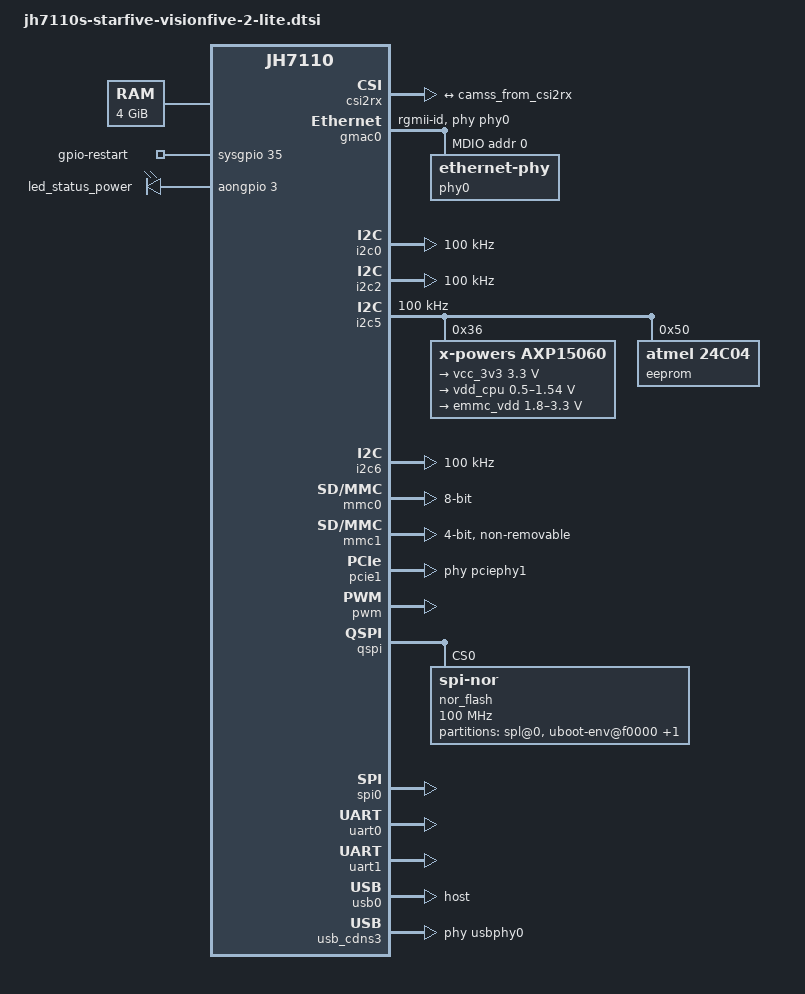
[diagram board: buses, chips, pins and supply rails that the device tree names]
// SPDX-License-Identifier: GPL-2.0 OR MIT
/*
 * Copyright (C) 2025 StarFive Technology Co., Ltd.
 * Copyright (C) 2025 Hal Feng <hal.feng@starfivetech.com>
 */

/dts-v1/;
#include "jh7110.dtsi"
#include "jh7110-pinfunc.h"
#include <dt-bindings/gpio/gpio.h>
#include <dt-bindings/leds/common.h>
#include <dt-bindings/pinctrl/starfive,jh7110-pinctrl.h>

/ {
	aliases {
		ethernet0 = &gmac0;
		i2c0 = &i2c0;
		i2c2 = &i2c2;
		i2c5 = &i2c5;
		i2c6 = &i2c6;
		mmc0 = &mmc0;
		mmc1 = &mmc1;
		serial0 = &uart0;
	};

	chosen {
		stdout-path = "serial0:115200n8";
	};

	memory@40000000 {
		device_type = "memory";
		reg = <0x0 0x40000000 0x1 0x0>;
		bootph-pre-ram;
	};

	gpio-restart {
		compatible = "gpio-restart";
		gpios = <&sysgpio 35 GPIO_ACTIVE_HIGH>;
		priority = <224>;
	};

	leds {
		compatible = "gpio-leds";

		led_status_power: led-0 {
			gpios = <&aongpio 3 GPIO_ACTIVE_HIGH>;
		};
	};
};

&cpu_opp {
	/delete-node/ opp-375000000;
	/delete-node/ opp-500000000;
	/delete-node/ opp-750000000;
	/delete-node/ opp-1500000000;

	opp-312500000 {
		opp-hz = /bits/ 64 <312500000>;
		opp-microvolt = <800000>;
	};
	opp-417000000 {
		opp-hz = /bits/ 64 <417000000>;
		opp-microvolt = <800000>;
	};
	opp-625000000 {
		opp-hz = /bits/ 64 <625000000>;
		opp-microvolt = <800000>;
	};
	opp-1250000000 {
		opp-hz = /bits/ 64 <1250000000>;
		opp-microvolt = <1000000>;
	};
};

&cpus {
	timebase-frequency = <4000000>;
};

&dvp_clk {
	clock-frequency = <74250000>;
};

&gmac0_rgmii_rxin {
	clock-frequency = <125000000>;
};

&gmac0_rmii_refin {
	clock-frequency = <50000000>;
};

&gmac1_rgmii_rxin {
	clock-frequency = <125000000>;
};

&gmac1_rmii_refin {
	clock-frequency = <50000000>;
};

&hdmitx0_pixelclk {
	clock-frequency = <297000000>;
};

&i2srx_bclk_ext {
	clock-frequency = <12288000>;
};

&i2srx_lrck_ext {
	clock-frequency = <192000>;
};

&i2stx_bclk_ext {
	clock-frequency = <12288000>;
};

&i2stx_lrck_ext {
	clock-frequency = <192000>;
};

&mclk_ext {
	clock-frequency = <12288000>;
};

&osc {
	clock-frequency = <24000000>;
};

&rtc_osc {
	clock-frequency = <32768>;
};

&tdm_ext {
	clock-frequency = <49152000>;
};

&camss {
	assigned-clocks = <&ispcrg JH7110_ISPCLK_DOM4_APB_FUNC>,
			  <&ispcrg JH7110_ISPCLK_MIPI_RX0_PXL>;
	assigned-clock-rates = <49500000>, <198000000>;

	ports {
		#address-cells = <1>;
		#size-cells = <0>;

		port@0 {
			reg = <0>;
		};

		port@1 {
			reg = <1>;

			camss_from_csi2rx: endpoint {
				remote-endpoint = <&csi2rx_to_camss>;
			};
		};
	};
};

&csi2rx {
	assigned-clocks = <&ispcrg JH7110_ISPCLK_VIN_SYS>;
	assigned-clock-rates = <297000000>;

	ports {
		#address-cells = <1>;
		#size-cells = <0>;

		port@0 {
			reg = <0>;

			/* remote MIPI sensor endpoint */
		};

		port@1 {
			reg = <1>;

			csi2rx_to_camss: endpoint {
				remote-endpoint = <&camss_from_csi2rx>;
			};
		};
	};
};

&gmac0 {
	phy-handle = <&phy0>;
	phy-mode = "rgmii-id";
	starfive,tx-use-rgmii-clk;
	assigned-clocks = <&aoncrg JH7110_AONCLK_GMAC0_TX>;
	assigned-clock-parents = <&aoncrg JH7110_AONCLK_GMAC0_RMII_RTX>;
	status = "okay";

	mdio {
		#address-cells = <1>;
		#size-cells = <0>;
		compatible = "snps,dwmac-mdio";

		phy0: ethernet-phy@0 {
			reg = <0>;
			motorcomm,tx-clk-adj-enabled;
			motorcomm,tx-clk-100-inverted;
			motorcomm,tx-clk-1000-inverted;
			motorcomm,rx-clk-drv-microamp = <3970>;
			motorcomm,rx-data-drv-microamp = <2910>;
			rx-internal-delay-ps = <1500>;
			tx-internal-delay-ps = <1500>;
		};
	};
};

&i2c0 {
	clock-frequency = <100000>;
	i2c-sda-hold-time-ns = <300>;
	i2c-sda-falling-time-ns = <510>;
	i2c-scl-falling-time-ns = <510>;
	pinctrl-names = "default";
	pinctrl-0 = <&i2c0_pins>;
	status = "okay";
};

&i2c2 {
	clock-frequency = <100000>;
	i2c-sda-hold-time-ns = <300>;
	i2c-sda-falling-time-ns = <510>;
	i2c-scl-falling-time-ns = <510>;
	pinctrl-names = "default";
	pinctrl-0 = <&i2c2_pins>;
	status = "okay";
};

&i2c5 {
	clock-frequency = <100000>;
	i2c-sda-hold-time-ns = <300>;
	i2c-sda-falling-time-ns = <510>;
	i2c-scl-falling-time-ns = <510>;
	pinctrl-names = "default";
	pinctrl-0 = <&i2c5_pins>;
	status = "okay";

	axp15060: pmic@36 {
		compatible = "x-powers,axp15060";
		reg = <0x36>;
		interrupt-controller;
		#interrupt-cells = <1>;

		regulators {
			vcc_3v3: dcdc1 {
				regulator-boot-on;
				regulator-always-on;
				regulator-min-microvolt = <3300000>;
				regulator-max-microvolt = <3300000>;
				regulator-name = "vcc_3v3";
			};

			vdd_cpu: dcdc2 {
				regulator-always-on;
				regulator-min-microvolt = <500000>;
				regulator-max-microvolt = <1540000>;
				regulator-name = "vdd_cpu";
			};

			emmc_vdd: aldo4 {
				regulator-boot-on;
				regulator-always-on;
				regulator-min-microvolt = <1800000>;
				regulator-max-microvolt = <3300000>;
				regulator-name = "emmc_vdd";
			};
		};
	};

	eeprom@50 {
		compatible = "atmel,24c04";
		reg = <0x50>;
		bootph-pre-ram;
		pagesize = <16>;
	};
};

&i2c6 {
	clock-frequency = <100000>;
	i2c-sda-hold-time-ns = <300>;
	i2c-sda-falling-time-ns = <510>;
	i2c-scl-falling-time-ns = <510>;
	pinctrl-names = "default";
	pinctrl-0 = <&i2c6_pins>;
	status = "okay";
};

&mmc0 {
	max-frequency = <100000000>;
	assigned-clocks = <&syscrg JH7110_SYSCLK_SDIO0_SDCARD>;
	assigned-clock-rates = <50000000>;
	bus-width = <8>;
	bootph-pre-ram;
	pinctrl-names = "default";
	pinctrl-0 = <&mmc0_pins>;
	status = "okay";
};

&mmc1 {
	max-frequency = <50000000>;
	assigned-clocks = <&syscrg JH7110_SYSCLK_SDIO1_SDCARD>;
	assigned-clock-rates = <50000000>;
	bus-width = <4>;
	bootph-pre-ram;
	cap-sd-highspeed;
	keep-power-in-suspend;
	non-removable;
	pinctrl-names = "default";
	pinctrl-0 = <&mmc1_pins>;
	status = "okay";
};

&pcie1 {
	enable-gpios = <&sysgpio 27 GPIO_ACTIVE_HIGH>;
	perst-gpios = <&sysgpio 28 GPIO_ACTIVE_LOW>;
	phys = <&pciephy1>;
	pinctrl-names = "default";
	pinctrl-0 = <&pcie1_pins>;
	status = "okay";
};

&pwm {
	pinctrl-names = "default";
	pinctrl-0 = <&pwm_pins>;
	status = "okay";
};

&qspi {
	#address-cells = <1>;
	#size-cells = <0>;
	status = "okay";

	nor_flash: flash@0 {
		compatible = "jedec,spi-nor";
		reg = <0>;
		bootph-pre-ram;
		cdns,read-delay = <2>;
		spi-max-frequency = <100000000>;
		cdns,tshsl-ns = <1>;
		cdns,tsd2d-ns = <1>;
		cdns,tchsh-ns = <1>;
		cdns,tslch-ns = <1>;

		partitions {
			compatible = "fixed-partitions";
			#address-cells = <1>;
			#size-cells = <1>;

			spl@0 {
				reg = <0x0 0xf0000>;
			};
			uboot-env@f0000 {
				reg = <0xf0000 0x10000>;
			};
			uboot@100000 {
				reg = <0x100000 0xf00000>;
			};
		};
	};
};

&spi0 {
	pinctrl-names = "default";
	pinctrl-0 = <&spi0_pins>;
	status = "okay";
};

&syscrg {
	assigned-clocks = <&syscrg JH7110_SYSCLK_CPU_ROOT>,
			  <&syscrg JH7110_SYSCLK_BUS_ROOT>,
			  <&syscrg JH7110_SYSCLK_PERH_ROOT>,
			  <&syscrg JH7110_SYSCLK_QSPI_REF>,
			  <&syscrg JH7110_SYSCLK_CPU_CORE>,
			  <&pllclk JH7110_PLLCLK_PLL0_OUT>;
	assigned-clock-parents = <&pllclk JH7110_PLLCLK_PLL0_OUT>,
				 <&pllclk JH7110_PLLCLK_PLL2_OUT>,
				 <&pllclk JH7110_PLLCLK_PLL2_OUT>,
				 <&syscrg JH7110_SYSCLK_QSPI_REF_SRC>;
	assigned-clock-rates = <0>, <0>, <0>, <0>, <500000000>, <1250000000>;
};

&sysgpio {
	i2c0_pins: i2c0-0 {
		i2c-pins {
			pinmux = <GPIOMUX(57, GPOUT_LOW,
					      GPOEN_SYS_I2C0_CLK,
					      GPI_SYS_I2C0_CLK)>,
				 <GPIOMUX(58, GPOUT_LOW,
					      GPOEN_SYS_I2C0_DATA,
					      GPI_SYS_I2C0_DATA)>;
			bias-disable; /* external pull-up */
			input-enable;
			input-schmitt-enable;
		};
	};

	i2c2_pins: i2c2-0 {
		i2c-pins {
			pinmux = <GPIOMUX(3, GPOUT_LOW,
					     GPOEN_SYS_I2C2_CLK,
					     GPI_SYS_I2C2_CLK)>,
				 <GPIOMUX(2, GPOUT_LOW,
					     GPOEN_SYS_I2C2_DATA,
					     GPI_SYS_I2C2_DATA)>;
			bias-disable; /* external pull-up */
			input-enable;
			input-schmitt-enable;
		};
	};

	i2c5_pins: i2c5-0 {
		bootph-pre-ram;

		i2c-pins {
			pinmux = <GPIOMUX(19, GPOUT_LOW,
					      GPOEN_SYS_I2C5_CLK,
					      GPI_SYS_I2C5_CLK)>,
				 <GPIOMUX(20, GPOUT_LOW,
					      GPOEN_SYS_I2C5_DATA,
					      GPI_SYS_I2C5_DATA)>;
			bias-disable; /* external pull-up */
			bootph-pre-ram;
			input-enable;
			input-schmitt-enable;
		};
	};

	i2c6_pins: i2c6-0 {
		i2c-pins {
			pinmux = <GPIOMUX(16, GPOUT_LOW,
					      GPOEN_SYS_I2C6_CLK,
					      GPI_SYS_I2C6_CLK)>,
				 <GPIOMUX(17, GPOUT_LOW,
					      GPOEN_SYS_I2C6_DATA,
					      GPI_SYS_I2C6_DATA)>;
			bias-disable; /* external pull-up */
			input-enable;
			input-schmitt-enable;
		};
	};

	mmc0_pins: mmc0-0 {
		mmc-pins {
			pinmux = <PINMUX(PAD_SD0_CLK, 0)>,
				 <PINMUX(PAD_SD0_CMD, 0)>,
				 <PINMUX(PAD_SD0_DATA0, 0)>,
				 <PINMUX(PAD_SD0_DATA1, 0)>,
				 <PINMUX(PAD_SD0_DATA2, 0)>,
				 <PINMUX(PAD_SD0_DATA3, 0)>,
				 <PINMUX(PAD_SD0_DATA4, 0)>,
				 <PINMUX(PAD_SD0_DATA5, 0)>,
				 <PINMUX(PAD_SD0_DATA6, 0)>,
				 <PINMUX(PAD_SD0_DATA7, 0)>;
			bias-pull-up;
			drive-strength = <12>;
			input-enable;
		};
	};

	mmc1_pins: mmc1-0 {
		clk-pins {
			pinmux = <GPIOMUX(10, GPOUT_SYS_SDIO1_CLK,
					      GPOEN_ENABLE,
					      GPI_NONE)>;
			bias-pull-up;
			drive-strength = <12>;
			input-disable;
			input-schmitt-disable;
			slew-rate = <0>;
		};

		mmc-pins {
			pinmux = <GPIOMUX(9, GPOUT_SYS_SDIO1_CMD,
					     GPOEN_SYS_SDIO1_CMD,
					     GPI_SYS_SDIO1_CMD)>,
				 <GPIOMUX(11, GPOUT_SYS_SDIO1_DATA0,
					      GPOEN_SYS_SDIO1_DATA0,
					      GPI_SYS_SDIO1_DATA0)>,
				 <GPIOMUX(12, GPOUT_SYS_SDIO1_DATA1,
					      GPOEN_SYS_SDIO1_DATA1,
					      GPI_SYS_SDIO1_DATA1)>,
				 <GPIOMUX(7, GPOUT_SYS_SDIO1_DATA2,
					     GPOEN_SYS_SDIO1_DATA2,
					     GPI_SYS_SDIO1_DATA2)>,
				 <GPIOMUX(8, GPOUT_SYS_SDIO1_DATA3,
					     GPOEN_SYS_SDIO1_DATA3,
					     GPI_SYS_SDIO1_DATA3)>;
			bias-pull-up;
			drive-strength = <12>;
			input-enable;
			input-schmitt-enable;
			slew-rate = <0>;
		};
	};

	pcie1_pins: pcie1-0 {
		clkreq-pins {
			pinmux = <GPIOMUX(29, GPOUT_LOW,
					      GPOEN_DISABLE,
					      GPI_NONE)>;
			bias-pull-down;
			drive-strength = <2>;
			input-enable;
			input-schmitt-disable;
			slew-rate = <0>;
		};

		wake-pins {
			pinmux = <GPIOMUX(21, GPOUT_LOW,
				      GPOEN_DISABLE,
					      GPI_NONE)>;
			bias-pull-up;
			drive-strength = <2>;
			input-enable;
			input-schmitt-disable;
			slew-rate = <0>;
		};
	};

	pwm_pins: pwm-0 {
		pwm-pins {
			pinmux = <GPIOMUX(46, GPOUT_SYS_PWM_CHANNEL0,
					      GPOEN_SYS_PWM0_CHANNEL0,
					      GPI_NONE)>,
				 <GPIOMUX(59, GPOUT_SYS_PWM_CHANNEL1,
					      GPOEN_SYS_PWM0_CHANNEL1,
					      GPI_NONE)>;
			bias-disable;
			drive-strength = <12>;
			input-disable;
			input-schmitt-disable;
			slew-rate = <0>;
		};
	};

	spi0_pins: spi0-0 {
		mosi-pins {
			pinmux = <GPIOMUX(52, GPOUT_SYS_SPI0_TXD,
					      GPOEN_ENABLE,
					      GPI_NONE)>;
			bias-disable;
			input-disable;
			input-schmitt-disable;
		};

		miso-pins {
			pinmux = <GPIOMUX(53, GPOUT_LOW,
					      GPOEN_DISABLE,
					      GPI_SYS_SPI0_RXD)>;
			bias-pull-up;
			input-enable;
			input-schmitt-enable;
		};

		sck-pins {
			pinmux = <GPIOMUX(48, GPOUT_SYS_SPI0_CLK,
					      GPOEN_ENABLE,
					      GPI_SYS_SPI0_CLK)>;
			bias-disable;
			input-disable;
			input-schmitt-disable;
		};

		ss-pins {
			pinmux = <GPIOMUX(49, GPOUT_SYS_SPI0_FSS,
					      GPOEN_ENABLE,
					      GPI_SYS_SPI0_FSS)>;
			bias-disable;
			input-disable;
			input-schmitt-disable;
		};
	};

	uart0_pins: uart0-0 {
		tx-pins {
			pinmux = <GPIOMUX(5, GPOUT_SYS_UART0_TX,
					     GPOEN_ENABLE,
					     GPI_NONE)>;
			bias-disable;
			drive-strength = <12>;
			input-disable;
			input-schmitt-disable;
			slew-rate = <0>;
		};

		rx-pins {
			pinmux = <GPIOMUX(6, GPOUT_LOW,
					     GPOEN_DISABLE,
					     GPI_SYS_UART0_RX)>;
			bias-disable; /* external pull-up */
			drive-strength = <2>;
			input-enable;
			input-schmitt-enable;
			slew-rate = <0>;
		};
	};

	uart1_pins: uart1-0 {
		tx-pins {
			pinmux = <GPIOMUX(22, GPOUT_SYS_UART1_TX,
					      GPOEN_ENABLE,
					      GPI_NONE)>;
			bias-disable;
			drive-strength = <12>;
			input-disable;
			input-schmitt-disable;
			slew-rate = <0>;
		};

		rx-pins {
			pinmux = <GPIOMUX(23, GPOUT_LOW,
					      GPOEN_DISABLE,
					      GPI_SYS_UART1_RX)>;
			bias-pull-up;
			drive-strength = <2>;
			input-enable;
			input-schmitt-enable;
			slew-rate = <0>;
		};

		cts-pins {
			pinmux = <GPIOMUX(24, GPOUT_LOW,
					      GPOEN_DISABLE,
					      GPI_SYS_UART1_CTS)>;
			input-enable;
		};

		rts-pins {
			pinmux = <GPIOMUX(25, GPOUT_SYS_UART1_RTS,
					      GPOEN_ENABLE,
					      GPI_NONE)>;
			input-enable;
		};
	};

	usb0_pins: usb0-0 {
		power-pins {
			pinmux = <GPIOMUX(26, GPOUT_HIGH,
					      GPOEN_ENABLE,
					      GPI_NONE)>;
			input-disable;
		};

		switch-pins {
			pinmux = <GPIOMUX(62, GPOUT_LOW,
					      GPOEN_ENABLE,
					      GPI_NONE)>;
			input-disable;
		};
	};
};

&uart0 {
	bootph-pre-ram;
	pinctrl-names = "default";
	pinctrl-0 = <&uart0_pins>;
	status = "okay";
};

&uart1 {
	pinctrl-names = "default";
	pinctrl-0 = <&uart1_pins>;
	status = "okay";
};

&usb0 {
	dr_mode = "host";
	pinctrl-names = "default";
	pinctrl-0 = <&usb0_pins>;
	status = "okay";
};

&usb_cdns3 {
	phys = <&usbphy0>, <&pciephy0>;
	phy-names = "cdns3,usb2-phy", "cdns3,usb3-phy";
};

&U74_1 {
	cpu-supply = <&vdd_cpu>;
};

&U74_2 {
	cpu-supply = <&vdd_cpu>;
};

&U74_3 {
	cpu-supply = <&vdd_cpu>;
};

&U74_4 {
	cpu-supply = <&vdd_cpu>;
};
